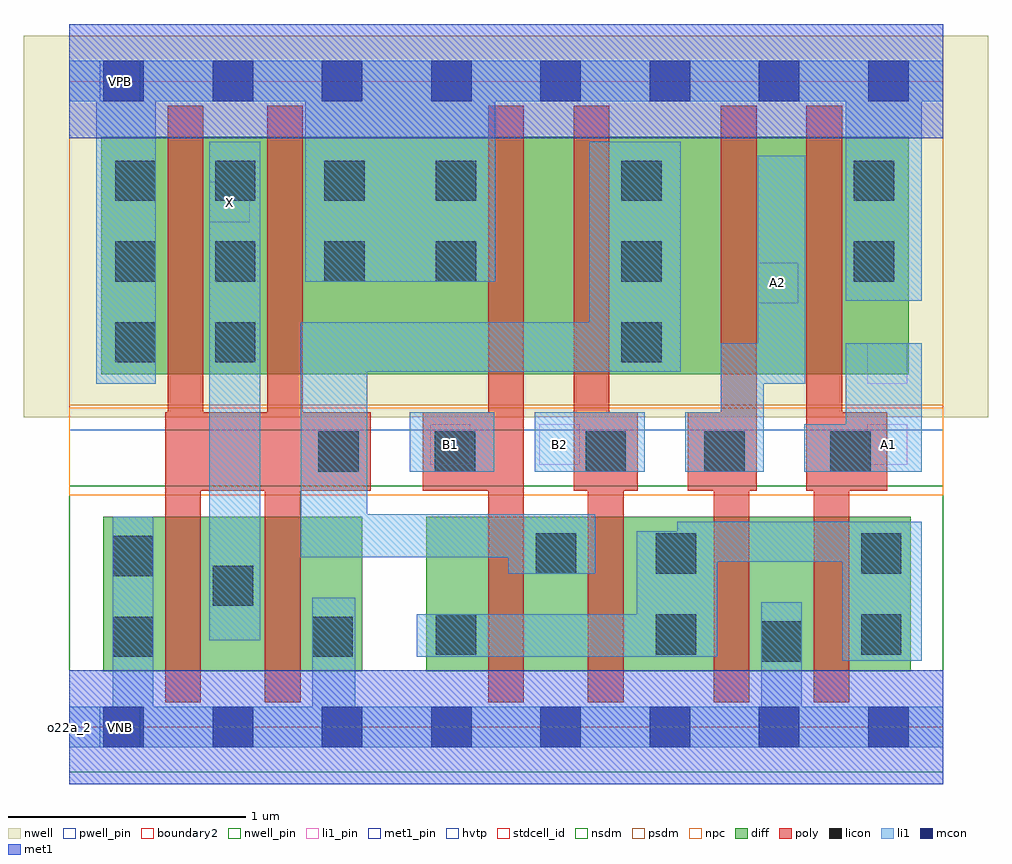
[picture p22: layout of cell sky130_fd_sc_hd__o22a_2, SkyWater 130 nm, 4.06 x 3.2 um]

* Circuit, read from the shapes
.subckt sky130_fd_sc_hd__o22a_2 A1 A2 B1 B2 VGND VNB VPB VPWR X
XM1 X n1 VGND VNB sky130_fd_pr__nfet_01v8 w=0.65 l=0.15 m=2
XM2 n1 B1 n2 VNB sky130_fd_pr__nfet_01v8 w=0.65 l=0.15
XM3 n2 B2 n1 VNB sky130_fd_pr__nfet_01v8 w=0.65 l=0.15
XM4 VGND A2 n2 VNB sky130_fd_pr__nfet_01v8 w=0.65 l=0.15
XM5 n2 A1 VGND VNB sky130_fd_pr__nfet_01v8 w=0.65 l=0.15
XM6 X n1 VPWR VPB sky130_fd_pr__pfet_01v8_hvt w=1 l=0.15 m=2
XM7 n3 B1 VPWR VPB sky130_fd_pr__pfet_01v8_hvt w=1 l=0.15
XM8 n1 B2 n3 VPB sky130_fd_pr__pfet_01v8_hvt w=1 l=0.15
XM9 n4 A2 n1 VPB sky130_fd_pr__pfet_01v8_hvt w=1 l=0.15
XM10 VPWR A1 n4 VPB sky130_fd_pr__pfet_01v8_hvt w=1 l=0.15
.ends

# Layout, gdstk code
import gdstk
lib = gdstk.Library(unit=1e-6, precision=1e-09)
def R(c, l, rs):  # rectangles x0, y0, x1, y1
    for r in rs: c.add(gdstk.rectangle(r[:2], r[2:], *l))
def A(c, l, x, y, w, h, nx, ny, dx, dy):  # array of equal rectangles
    R(c, l, [(x+i*dx, y+j*dy, x+i*dx+w, y+j*dy+h) for i in range(nx) for j in range(ny)])
def P(c, l, *ps):  # polygons
    for p in ps: c.add(gdstk.Polygon(p, *l))
nwell_pin = (64, 16)
nwell = (64, 20)
diff = (65, 20)
poly = (66, 20)
licon = (66, 44)
li1_pin = (67, 16)
li1 = (67, 20)
mcon = (67, 44)
met1_pin = (68, 16)
met1 = (68, 20)
hvtp = (78, 44)
stdcell_id = (81, 4)
nsdm = (93, 44)
psdm = (94, 20)
npc = (95, 20)
pwell_pin = (122, 16)
boundary2 = (236, 0)

sky130_fd_sc_hd__o22a_2 = lib.new_cell('sky130_fd_sc_hd__o22a_2')
R(sky130_fd_sc_hd__o22a_2, nwell_pin, [(0.13,2.635,0.3,2.805)])
R(sky130_fd_sc_hd__o22a_2, nwell, [(-0.19,1.305,3.87,2.91)])
R(sky130_fd_sc_hd__o22a_2, diff, [(0.145,0.235,1.235,0.885), (1.505,0.235,3.545,0.885), (0.135,1.485,3.535,2.485)])
P(sky130_fd_sc_hd__o22a_2, poly, [(1.27,1.325),(0.985,1.325),(0.985,2.615),(0.835,2.615),(0.835,1.325),(0.565,1.325),(0.565,2.615),(0.415,2.615),(0.415,1.325),(0.405,1.325),(0.405,0.105),(0.555,0.105),(0.555,0.995),(0.825,0.995),(0.825,0.105),(0.975,0.105),(0.975,0.995),(1.27,0.995)],
  [(1.915,2.615),(1.765,2.615),(1.765,1.325),(1.49,1.325),(1.49,0.995),(1.765,0.995),(1.765,0.105),(1.915,0.105)],
  [(2.395,1.325),(2.275,1.325),(2.275,2.615),(2.125,2.615),(2.125,0.995),(2.185,0.995),(2.185,0.105),(2.335,0.105),(2.335,0.995),(2.395,0.995)],
  [(2.895,2.615),(2.745,2.615),(2.745,1.325),(2.605,1.325),(2.605,0.995),(2.715,0.995),(2.715,0.105),(2.865,0.105),(2.865,0.995),(2.895,0.995)],
  [(3.445,1.325),(3.255,1.325),(3.255,2.615),(3.105,2.615),(3.105,0.995),(3.135,0.995),(3.135,0.105),(3.285,0.105),(3.285,0.995),(3.445,0.995)])
A(sky130_fd_sc_hd__o22a_2, licon, 0.195, 1.535, 0.17, 0.17, 1, 3, 0, 0.34)
A(sky130_fd_sc_hd__o22a_2, licon, 0.615, 1.535, 0.17, 0.17, 1, 3, 0, 0.34)
A(sky130_fd_sc_hd__o22a_2, licon, 2.325, 1.535, 0.17, 0.17, 1, 3, 0, 0.34)
R(sky130_fd_sc_hd__o22a_2, licon, [(2.915,0.275,3.085,0.445), (0.185,0.295,0.355,0.465), (1.025,0.295,1.195,0.465), (1.545,0.305,1.715,0.475), (2.47,0.305,2.64,0.475), (3.335,0.305,3.505,0.475), (0.605,0.51,0.775,0.68), (0.185,0.635,0.355,0.805), (1.965,0.645,2.135,0.815), (2.47,0.645,2.64,0.815), (3.335,0.645,3.505,0.815), (1.05,1.075,1.22,1.245), (1.54,1.075,1.71,1.245), (2.175,1.075,2.345,1.245), (2.675,1.075,2.845,1.245), (3.205,1.075,3.375,1.245), (1.075,1.875,1.245,2.045), (1.545,1.875,1.715,2.045), (3.305,1.875,3.475,2.045), (1.075,2.215,1.245,2.385), (1.545,2.215,1.715,2.385), (3.305,2.215,3.475,2.385)])
R(sky130_fd_sc_hd__o22a_2, li1_pin, [(1.52,1.105,1.69,1.275), (1.98,1.105,2.15,1.275), (3.36,1.105,3.53,1.275), (3.36,1.445,3.53,1.615), (2.9,1.785,3.07,1.955), (0.59,2.125,0.76,2.295)])
R(sky130_fd_sc_hd__o22a_2, li1, [(0.59,0.365,0.805,2.465), (1.435,1.075,1.79,1.325), (1.96,1.075,2.425,1.325)])
P(sky130_fd_sc_hd__o22a_2, li1, [(2.575,2.465),(2.19,2.465),(2.19,1.705),(0.975,1.705),(0.975,0.715),(1.85,0.715),(1.85,0.645),(2.215,0.645),(2.215,0.895),(1.255,0.895),(1.255,1.495),(2.575,1.495)],
  [(3.1,2.405),(2.9,2.405),(2.9,1.615),(2.745,1.615),(2.745,1.325),(2.595,1.325),(2.595,1.075),(2.925,1.075),(2.925,1.445),(3.1,1.445)],
  [(3.59,1.615),(3.27,1.615),(3.27,1.275),(3.095,1.275),(3.095,1.075),(3.59,1.075)],
  [(3.59,0.865),(2.56,0.865),(2.56,0.825),(2.39,0.825),(2.39,0.475),(1.465,0.475),(1.465,0.295),(2.73,0.295),(2.73,0.695),(3.255,0.695),(3.255,0.28),(3.59,0.28)],
  [(3.68,2.805),(0,2.805),(0,2.635),(0.115,2.635),(0.115,1.445),(0.365,1.445),(0.365,2.635),(0.995,2.635),(0.995,1.875),(1.795,1.875),(1.795,2.635),(3.27,2.635),(3.27,1.795),(3.59,1.795),(3.59,2.635),(3.68,2.635)],
  [(3.68,0.085),(3.085,0.085),(3.085,0.525),(2.915,0.525),(2.915,0.085),(1.205,0.085),(1.205,0.545),(1.025,0.545),(1.025,0.085),(0.355,0.085),(0.355,0.885),(0.185,0.885),(0.185,0.085),(0,0.085),(0,-0.085),(3.68,-0.085)])
A(sky130_fd_sc_hd__o22a_2, mcon, 0.145, -0.085, 0.17, 0.17, 8, 2, 0.46, 2.72)
R(sky130_fd_sc_hd__o22a_2, met1_pin, [(0.13,-0.085,0.3,0.085), (0.13,2.635,0.3,2.805)])
R(sky130_fd_sc_hd__o22a_2, hvtp, [(0,1.25,3.68,2.72)])
R(sky130_fd_sc_hd__o22a_2, stdcell_id, [(0,0,3.68,2.72)])
R(sky130_fd_sc_hd__o22a_2, nsdm, [(0,-0.19,3.68,1.015)])
R(sky130_fd_sc_hd__o22a_2, psdm, [(0,1.355,3.68,2.91)])
R(sky130_fd_sc_hd__o22a_2, npc, [(0,0.975,3.68,1.345)])
R(sky130_fd_sc_hd__o22a_2, pwell_pin, [(0.13,-0.085,0.3,0.085)])
R(sky130_fd_sc_hd__o22a_2, boundary2, [(0,0,3.68,2.72)])
sky130_fd_sc_hd__o22a_2.add(gdstk.FlexPath([(0,2.72),(3.68,2.72)], 0.48, ends="flush", simple_path=True, layer=68, datatype=20))  # met1
sky130_fd_sc_hd__o22a_2.add(gdstk.FlexPath([(0,0),(3.68,0)], 0.48, ends="flush", simple_path=True, layer=68, datatype=20))  # met1
sky130_fd_sc_hd__o22a_2.add(gdstk.Label('A2', (2.985,1.87), layer=67, texttype=5))
sky130_fd_sc_hd__o22a_2.add(gdstk.Label('X', (0.675,2.21), layer=67, texttype=5))
sky130_fd_sc_hd__o22a_2.add(gdstk.Label('B1', (1.605,1.19), layer=67, texttype=5))
sky130_fd_sc_hd__o22a_2.add(gdstk.Label('A1', (3.45,1.19), layer=67, texttype=5))
sky130_fd_sc_hd__o22a_2.add(gdstk.Label('B2', (2.065,1.19), layer=67, texttype=5))
sky130_fd_sc_hd__o22a_2.add(gdstk.Label('VNB', (0.215,0), layer=64, texttype=59))
sky130_fd_sc_hd__o22a_2.add(gdstk.Label('VPB', (0.215,2.72), layer=64, texttype=5))
sky130_fd_sc_hd__o22a_2.add(gdstk.Label('VGND', (0.23,0), layer=68, texttype=5))
sky130_fd_sc_hd__o22a_2.add(gdstk.Label('VPWR', (0.23,2.72), layer=68, texttype=5))
sky130_fd_sc_hd__o22a_2.add(gdstk.Label('o22a_2', (0,0), layer=83, texttype=44))

lib.write_gds('sky130_fd_sc_hd__o22a_2.gds')
